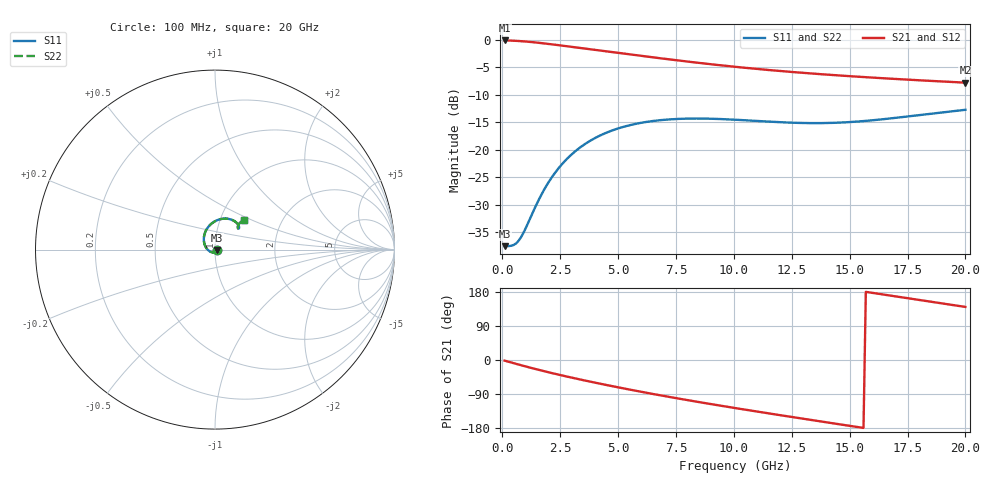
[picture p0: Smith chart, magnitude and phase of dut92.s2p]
! Created with skrf 1.9.0 (http://scikit-rf.org).
# GHz S RI R 50.0
!freq ReS11 ImS11 ReS21 ImS21 ReS12 ImS12 ReS22 ImS22
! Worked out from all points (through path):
!   200 points, 100 MHz to 20 GHz, reference 50 ohm
!   highest |S21| = -0.12 dB at 100 MHz (marker M1); lowest = -7.8 dB at 20 GHz (marker M2)
!   group delay of S21, straight-line fit = 29.2 ps
!   lowest |S11| = -37.5 dB at 100 MHz (marker M3), VSWR 1.03, Z = 51.3 - j0.262 ohm
!   |S11| at or under -10 dB: start of sweep to end of sweep
!   |S22| runs from -37.5 to -12.7 dB; largest |S21 - S12| = 3.6e-15
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0.1  0.013 -0.00255  0.986 -0.0298  0.986 -0.0298  0.013 -0.00255
0.5  0.00685 -0.0118  0.9699 -0.1463  0.9699 -0.1463  0.00685 -0.0118
0.7  0.000985 -0.0148  0.9545 -0.202  0.9545 -0.202  0.000985 -0.0148
0.9  -0.00627 -0.0161  0.9347 -0.2552  0.9347 -0.2552  -0.00627 -0.0161
1.7  -0.0394 -0.00195  0.824 -0.4374  0.824 -0.4374  -0.0394 -0.00195
2.1  -0.0524 0.0155  0.7565 -0.5089  0.7565 -0.5089  -0.0524 0.0155
2.7  -0.062 0.0488  0.6483 -0.5936  0.6483 -0.5936  -0.062 0.0488
3.1  -0.0612 0.0725  0.5742 -0.6366  0.5742 -0.6366  -0.0612 0.0725
3.5  -0.0552 0.0952  0.5 -0.67  0.5 -0.67  -0.0552 0.0952
4.2  -0.035 0.1293  0.3723 -0.708  0.3723 -0.708  -0.035 0.1293
5  -0.0032 0.1562  0.2335 -0.7239  0.2335 -0.7239  -0.0032 0.1562
5.9  0.0353 0.1707  0.0907 -0.7132  0.0907 -0.7132  0.0353 0.1707
6.8  0.0699 0.1719  -0.0349 -0.6794  -0.0349 -0.6794  0.0699 0.1719
7.6  0.0946 0.1656  -0.131 -0.6353  -0.131 -0.6353  0.0946 0.1656
8.4  0.1128 0.1556  -0.2128 -0.582  -0.2128 -0.582  0.1128 0.1556
10.1  0.132 0.133  -0.3431 -0.4512  -0.3431 -0.4512  0.132 0.133
11.7  0.1339 0.1193  -0.4194 -0.3189  -0.4194 -0.3189  0.1339 0.1193
13.4  0.1294 0.1172  -0.4595 -0.1782  -0.4595 -0.1782  0.1294 0.1172
15  0.127 0.1253  -0.464 -0.051  -0.464 -0.051  0.127 0.1253
16.7  0.1316 0.1398  -0.4377 0.0732  -0.4377 0.0732  0.1316 0.1398
18.3  0.1439 0.1535  -0.3875 0.1748  -0.3875 0.1748  0.1439 0.1535
20  0.1636 0.163  -0.3125 0.2617  -0.3125 0.2617  0.1636 0.163
